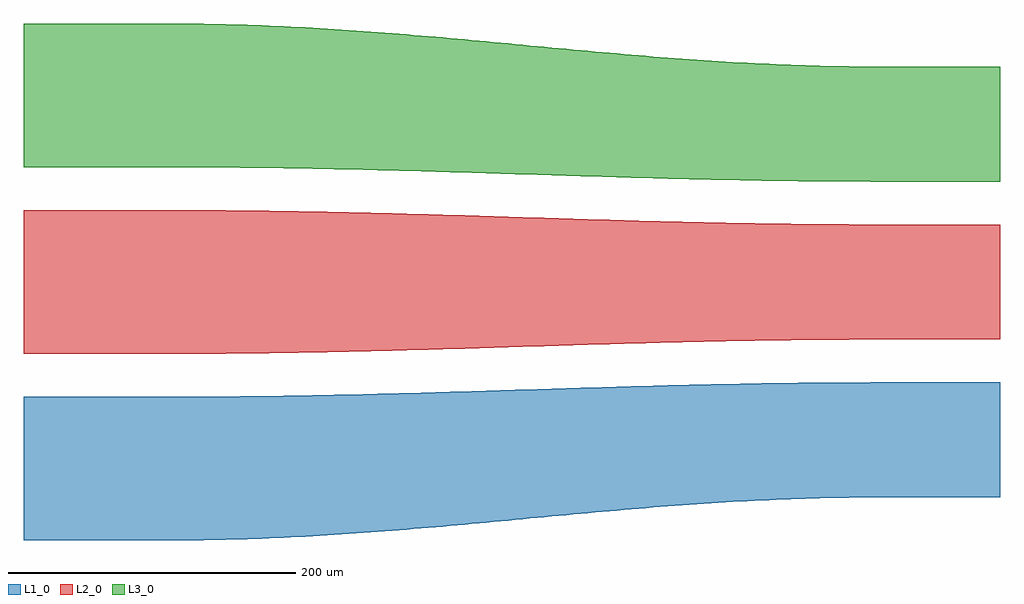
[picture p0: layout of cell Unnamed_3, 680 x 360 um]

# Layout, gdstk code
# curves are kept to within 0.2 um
import gdstk
lib = gdstk.Library(unit=1e-6, precision=1e-09)
def R(c, l, rs):  # rectangles x0, y0, x1, y1
    for r in rs: c.add(gdstk.rectangle(r[:2], r[2:], *l))
def P(c, l, *ps):  # polygons
    for p in ps: c.add(gdstk.Polygon(p, *l))
L1_0 = (1, 0)
L2_0 = (2, 0)
L3_0 = (3, 0)

unnamed_0 = lib.new_cell('Unnamed_0')
R(unnamed_0, L1_0, [(0,-180,100,-80)])
R(unnamed_0, L2_0, [(0,-50,100,50)])
R(unnamed_0, L3_0, [(0,80,100,180)])

unnamed_1 = lib.new_cell('Unnamed_1')
R(unnamed_1, L1_0, [(0,-150,80,-70)])
R(unnamed_1, L2_0, [(0,-40,80,40)])
R(unnamed_1, L3_0, [(0,70,80,150)])

unnamed_2 = lib.new_cell('Unnamed_2')
P(unnamed_2, L1_0, [(0,-180),(0,-80),(55.556,-79.698),(111.111,-78.83),(176.768,-77.22),(368.687,-71.607),(434.343,-70.419),(500,-70),(500,-150),(474.747,-150.188),(444.444,-150.905),(388.889,-153.509),(323.232,-158.339),(191.919,-170.353),(131.313,-175.178),(95.96,-177.355),(65.657,-178.742),(30.303,-179.729)])
P(unnamed_2, L2_0, [(0,-50),(0,50),(55.556,49.698),(111.111,48.83),(176.768,47.22),(368.687,41.607),(434.343,40.419),(500,40),(500,-40),(444.444,-40.302),(388.889,-41.17),(323.232,-42.78),(131.313,-48.393),(65.657,-49.581)])
P(unnamed_2, L3_0, [(500,70),(444.444,70.302),(388.889,71.17),(323.232,72.78),(131.313,78.393),(65.657,79.581),(0,80),(0,180),(25.253,179.812),(55.556,179.095),(111.111,176.491),(176.768,171.661),(308.081,159.647),(368.687,154.822),(404.04,152.645),(434.343,151.258),(469.697,150.271),(500,150)])

unnamed_3 = lib.new_cell('Unnamed_3')
unnamed_3.add(gdstk.Reference(unnamed_0, (0,0)))
unnamed_3.add(gdstk.Reference(unnamed_1, (600,0)))
unnamed_3.add(gdstk.Reference(unnamed_2, (100,0)))

lib.write_gds('Unnamed_3.gds')
